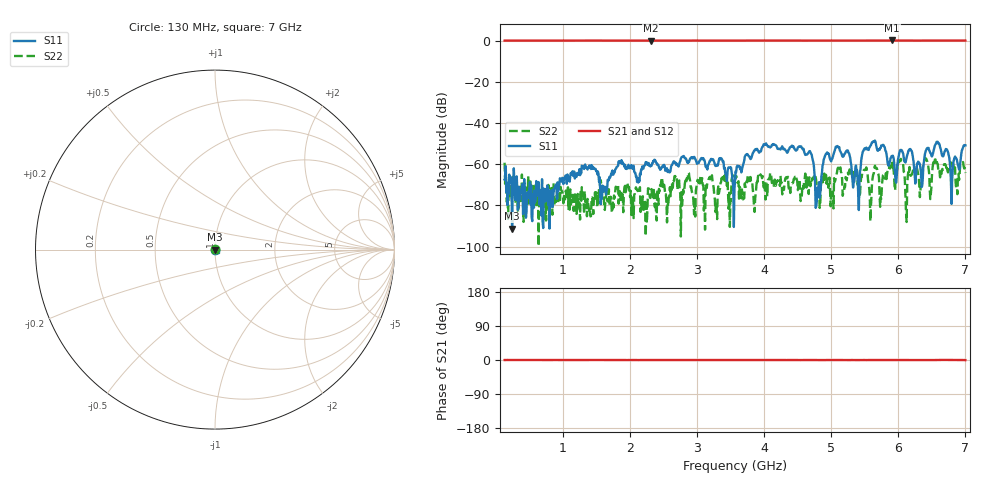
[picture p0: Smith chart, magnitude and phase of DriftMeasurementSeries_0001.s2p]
# Hz S RI R 50.000000
! Metas.Vna.Tools, 2.8.8664.20301
! Metas.Vna.Data, 2.8.8664.20285
! Created: UTC 2024.02.11 10:08:07
! FREQ  re:S1,1  im:S1,1  re:S2,1  im:S2,1  re:S1,2  im:S1,2  re:S2,2  im:S2,2
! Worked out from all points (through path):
!   801 points, 130 MHz to 7 GHz, reference 50 ohm
!   highest |S21| = 0.07 dB at 5.909 GHz (marker M1); lowest = 0.0 dB at 2.311 GHz (marker M2)
!   lowest |S11| = -91.3 dB at 241.6 MHz (marker M3), VSWR 1.00, Z = 50 - j0.00246 ohm
!   |S11| at or under -10 dB: start of sweep to end of sweep
!   |S22| runs from -99.7 to -56.9 dB; largest |S21 - S12| = 0.009
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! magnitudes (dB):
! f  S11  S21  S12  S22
! 130 MHz  -67.5  0.0  0.0  -59.3
! 241.6 MHz  -91.3  0.0  0.0  -78.4
! 817 MHz  -77.6  0.0  0.0  -77.5
! 1.281 GHz  -60.7  0.0  0.0  -71.1
! 1.59 GHz  -70.3  0.0  0.0  -73.4
! 1.856 GHz  -59.3  0.0  0.0  -77.3
! 2.311 GHz  -60.4  0.0  0.0  -73.3
! 2.423 GHz  -60.3  0.0  0.0  -79.6
! 3.565 GHz  -68.2  0.0  0.0  -65.6
! 4.012 GHz  -50.4  0.0  0.0  -72.8
! 4.716 GHz  -56.7  0.0  0.0  -67.0
! 4.802 GHz  -71.2  0.0  0.0  -74.1
! 4.905 GHz  -56.1  0.0  0.0  -67.5
! 5.085 GHz  -51.3  0.0  0.0  -64.1
! 5.386 GHz  -63.0  0.0  0.0  -66.3
! 5.626 GHz  -48.9  0.0  0.0  -64.9
! 5.858 GHz  -60.6  0.0  0.0  -63.0
! 5.909 GHz  -56.0  0.1  0.0  -59.2
! 6.339 GHz  -64.2  0.0  0.0  -65.9
! 6.579 GHz  -49.1  0.0  0.0  -59.5
! 6.802 GHz  -67.5  0.0  0.0  -59.5
! 7 GHz  -50.8  0.0  0.0  -64.2
